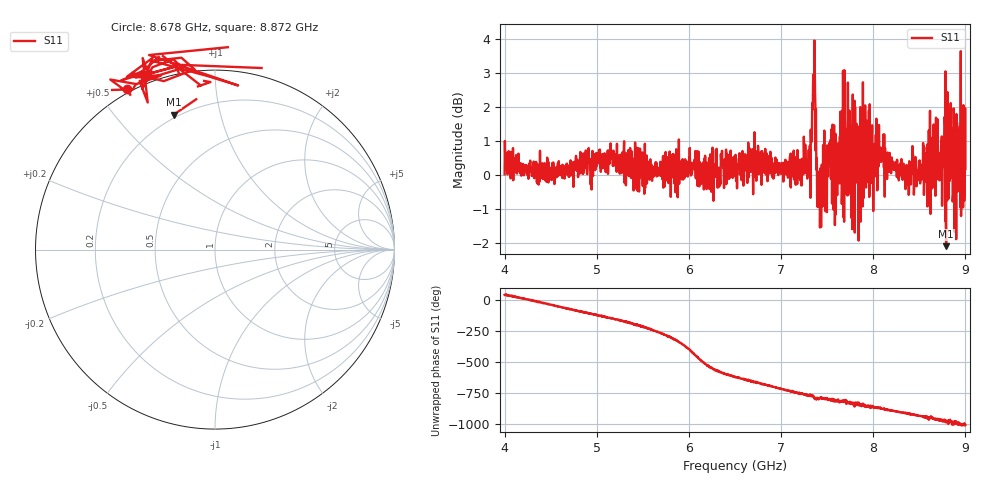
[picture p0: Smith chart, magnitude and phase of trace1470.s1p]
! Created with skrf 1.8.0 (http://scikit-rf.org).
# Hz S RI R 50.0
!freq ReS11 ImS11
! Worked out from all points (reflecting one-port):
!   1601 points, 4 GHz to 9 GHz, reference 50 ohm
!   lowest |S11| = -2.1 dB at 8.791 GHz (marker M1), VSWR 8.35, Z = 9.19 + j36.2 ohm
!   phase of S11 starts at 44 deg and turns -1052 deg over the sweep
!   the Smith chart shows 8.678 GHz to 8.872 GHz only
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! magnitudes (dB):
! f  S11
! 4 GHz  0.0
! 4.625 GHz  -0.1
! 5.153 GHz  0.7
! 5.25 GHz  0.0
! 5.875 GHz  0.3
! 6.5 GHz  0.2
! 6.666 GHz  0.8
! 7.125 GHz  0.4
! 7.294 GHz  0.0
! 7.353 GHz  2.4
! 7.369 GHz  2.4
! 7.4 GHz  -0.5
! 7.412 GHz  -0.2
! 7.525 GHz  1.0
! 7.591 GHz  1.2
! 7.669 GHz  0.8
! 7.75 GHz  0.2
! 7.769 GHz  -0.1
! 7.828 GHz  0.8
! 7.881 GHz  0.1
! 7.928 GHz  0.7
! 8.375 GHz  -0.3
! 8.438 GHz  0.5
! 8.609 GHz  -0.2
! 8.791 GHz  -2.1
! 8.919 GHz  -0.4
! 8.959 GHz  1.8
! 9 GHz  0.2
